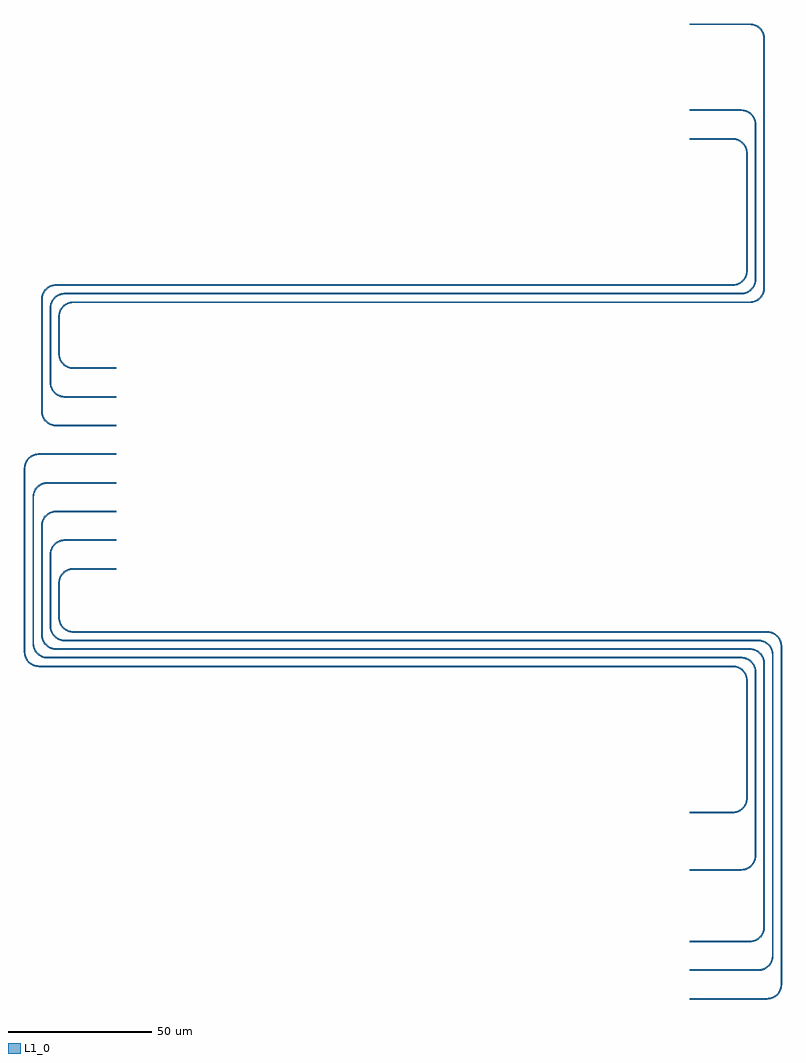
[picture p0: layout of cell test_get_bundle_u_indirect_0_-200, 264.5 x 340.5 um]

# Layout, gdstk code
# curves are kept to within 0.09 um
from math import pi, radians
import gdstk
lib = gdstk.Library(unit=1e-6, precision=1e-09)
def R(c, l, rs):  # rectangles x0, y0, x1, y1
    for r in rs: c.add(gdstk.rectangle(r[:2], r[2:], *l))
def P(c, l, *ps):  # polygons
    for p in ps: c.add(gdstk.Polygon(p, *l))
L1_0 = (1, 0)

bend_circular_964457f5 = lib.new_cell('bend_circular_964457f5')
P(bend_circular_964457f5, L1_0, [(0,-0.25),(1.092,-0.135),(2.135,0.204),(3.086,0.753),(3.712,1.288),(4.247,1.914),(4.796,2.865),(5.135,3.908),(5.25,5),(4.75,5),(4.646,4.012),(4.339,3.068),(3.984,2.413),(3.359,1.641),(2.587,1.016),(1.932,0.661),(0.988,0.354),(0,0.25)])

straight_75db68dd = lib.new_cell('straight_75db68dd')
R(straight_75db68dd, L1_0, [(0,-0.25,15,0.25)])

straight_3fe5b3d9 = lib.new_cell('straight_3fe5b3d9')
R(straight_3fe5b3d9, L1_0, [(0,-0.25,41,0.25)])

straight_c405e72f = lib.new_cell('straight_c405e72f')
R(straight_c405e72f, L1_0, [(0,-0.25,242,0.25)])

straight_e3840525 = lib.new_cell('straight_e3840525')
R(straight_e3840525, L1_0, [(0,-0.25,64,0.25)])

straight_b84123ef = lib.new_cell('straight_b84123ef')
R(straight_b84123ef, L1_0, [(0,-0.25,27,0.25)])

straight_bb729cf3 = lib.new_cell('straight_bb729cf3')
R(straight_bb729cf3, L1_0, [(0,-0.25,18,0.25)])

straight_2c4c719a = lib.new_cell('straight_2c4c719a')
R(straight_2c4c719a, L1_0, [(0,-0.25,51,0.25)])

straight_97db267d = lib.new_cell('straight_97db267d')
R(straight_97db267d, L1_0, [(0,-0.25,24,0.25)])

straight_7f4a1dcc = lib.new_cell('straight_7f4a1dcc')
R(straight_7f4a1dcc, L1_0, [(0,-0.25,21,0.25)])

straight_4d8b7284 = lib.new_cell('straight_4d8b7284')
R(straight_4d8b7284, L1_0, [(0,-0.25,92,0.25)])

straight_eb5dbb42 = lib.new_cell('straight_eb5dbb42')
R(straight_eb5dbb42, L1_0, [(0,-0.25,38,0.25)])

straight_1aebbf42 = lib.new_cell('straight_1aebbf42')
R(straight_1aebbf42, L1_0, [(0,-0.25,105,0.25)])

straight_f3370fae = lib.new_cell('straight_f3370fae')
R(straight_f3370fae, L1_0, [(0,-0.25,25,0.25)])

straight_53ca721e = lib.new_cell('straight_53ca721e')
R(straight_53ca721e, L1_0, [(0,-0.25,118,0.25)])

straight_c05510ec = lib.new_cell('straight_c05510ec')
R(straight_c05510ec, L1_0, [(0,-0.25,12,0.25)])

straight_cd8425bb = lib.new_cell('straight_cd8425bb')
R(straight_cd8425bb, L1_0, [(0,-0.25,236,0.25)])

straight_3c567886 = lib.new_cell('straight_3c567886')
R(straight_3c567886, L1_0, [(0,-0.25,39,0.25)])

straight_17a1eac1 = lib.new_cell('straight_17a1eac1')
R(straight_17a1eac1, L1_0, [(0,-0.25,54,0.25)])

straight_6e1d655f = lib.new_cell('straight_6e1d655f')
R(straight_6e1d655f, L1_0, [(0,-0.25,26,0.25)])

straight_4658989b = lib.new_cell('straight_4658989b')
R(straight_4658989b, L1_0, [(0,-0.25,87,0.25)])

straight_56192873 = lib.new_cell('straight_56192873')
R(straight_56192873, L1_0, [(0,-0.25,13,0.25)])

test_get_bundle_u_indire = lib.new_cell('test_get_bundle_u_indirect_0_-200')
test_get_bundle_u_indire.add(gdstk.Reference(bend_circular_964457f5, (15,-35)))
test_get_bundle_u_indire.add(gdstk.Reference(bend_circular_964457f5, (20,11), rotation=pi/2))
test_get_bundle_u_indire.add(gdstk.Reference(bend_circular_964457f5, (-227,16), rotation=pi, x_reflection=True))
test_get_bundle_u_indire.add(gdstk.Reference(bend_circular_964457f5, (-232,85), rotation=pi/2, x_reflection=True))
test_get_bundle_u_indire.add(gdstk.Reference(straight_75db68dd, (0,-35)))
test_get_bundle_u_indire.add(gdstk.Reference(straight_3fe5b3d9, (20,-30), rotation=pi/2))
test_get_bundle_u_indire.add(gdstk.Reference(straight_c405e72f, (15,16), rotation=pi))
test_get_bundle_u_indire.add(gdstk.Reference(straight_e3840525, (-232,21), rotation=pi/2))
test_get_bundle_u_indire.add(gdstk.Reference(straight_b84123ef, (-227,90)))
test_get_bundle_u_indire.add(gdstk.Reference(bend_circular_964457f5, (18,-55)))
test_get_bundle_u_indire.add(gdstk.Reference(bend_circular_964457f5, (23,14), rotation=pi/2))
test_get_bundle_u_indire.add(gdstk.Reference(bend_circular_964457f5, (-224,19), rotation=pi, x_reflection=True))
test_get_bundle_u_indire.add(gdstk.Reference(bend_circular_964457f5, (-229,75), rotation=pi/2, x_reflection=True))
test_get_bundle_u_indire.add(gdstk.Reference(straight_bb729cf3, (0,-55)))
test_get_bundle_u_indire.add(gdstk.Reference(straight_e3840525, (23,-50), rotation=pi/2))
test_get_bundle_u_indire.add(gdstk.Reference(straight_c405e72f, (18,19), rotation=pi))
test_get_bundle_u_indire.add(gdstk.Reference(straight_2c4c719a, (-229,24), rotation=pi/2))
test_get_bundle_u_indire.add(gdstk.Reference(straight_97db267d, (-224,80)))
test_get_bundle_u_indire.add(gdstk.Reference(bend_circular_964457f5, (21,-80)))
test_get_bundle_u_indire.add(gdstk.Reference(bend_circular_964457f5, (26,17), rotation=pi/2))
test_get_bundle_u_indire.add(gdstk.Reference(bend_circular_964457f5, (-221,22), rotation=pi, x_reflection=True))
test_get_bundle_u_indire.add(gdstk.Reference(bend_circular_964457f5, (-226,65), rotation=pi/2, x_reflection=True))
test_get_bundle_u_indire.add(gdstk.Reference(straight_7f4a1dcc, (0,-80)))
test_get_bundle_u_indire.add(gdstk.Reference(straight_4d8b7284, (26,-75), rotation=pi/2))
test_get_bundle_u_indire.add(gdstk.Reference(straight_c405e72f, (21,22), rotation=pi))
test_get_bundle_u_indire.add(gdstk.Reference(straight_eb5dbb42, (-226,27), rotation=pi/2))
test_get_bundle_u_indire.add(gdstk.Reference(straight_7f4a1dcc, (-221,70)))
test_get_bundle_u_indire.add(gdstk.Reference(bend_circular_964457f5, (24,-90)))
test_get_bundle_u_indire.add(gdstk.Reference(bend_circular_964457f5, (29,20), rotation=pi/2))
test_get_bundle_u_indire.add(gdstk.Reference(bend_circular_964457f5, (-218,25), rotation=pi, x_reflection=True))
test_get_bundle_u_indire.add(gdstk.Reference(bend_circular_964457f5, (-223,55), rotation=pi/2, x_reflection=True))
test_get_bundle_u_indire.add(gdstk.Reference(straight_97db267d, (0,-90)))
test_get_bundle_u_indire.add(gdstk.Reference(straight_1aebbf42, (29,-85), rotation=pi/2))
test_get_bundle_u_indire.add(gdstk.Reference(straight_c405e72f, (24,25), rotation=pi))
test_get_bundle_u_indire.add(gdstk.Reference(straight_f3370fae, (-223,30), rotation=pi/2))
test_get_bundle_u_indire.add(gdstk.Reference(straight_bb729cf3, (-218,60)))
test_get_bundle_u_indire.add(gdstk.Reference(bend_circular_964457f5, (27,-100)))
test_get_bundle_u_indire.add(gdstk.Reference(bend_circular_964457f5, (32,23), rotation=pi/2))
test_get_bundle_u_indire.add(gdstk.Reference(bend_circular_964457f5, (-215,28), rotation=pi, x_reflection=True))
test_get_bundle_u_indire.add(gdstk.Reference(bend_circular_964457f5, (-220,45), rotation=pi/2, x_reflection=True))
test_get_bundle_u_indire.add(gdstk.Reference(straight_b84123ef, (0,-100)))
test_get_bundle_u_indire.add(gdstk.Reference(straight_53ca721e, (32,-95), rotation=pi/2))
test_get_bundle_u_indire.add(gdstk.Reference(straight_c405e72f, (27,28), rotation=pi))
test_get_bundle_u_indire.add(gdstk.Reference(straight_c05510ec, (-220,33), rotation=pi/2))
test_get_bundle_u_indire.add(gdstk.Reference(straight_75db68dd, (-215,50)))
test_get_bundle_u_indire.add(gdstk.Reference(bend_circular_964457f5, (15,200), x_reflection=True))
test_get_bundle_u_indire.add(gdstk.Reference(bend_circular_964457f5, (20,154), rotation=3*pi/2, x_reflection=True))
test_get_bundle_u_indire.add(gdstk.Reference(bend_circular_964457f5, (-221,149), rotation=pi))
test_get_bundle_u_indire.add(gdstk.Reference(bend_circular_964457f5, (-226,105), rotation=3*pi/2))
test_get_bundle_u_indire.add(gdstk.Reference(straight_75db68dd, (0,200)))
test_get_bundle_u_indire.add(gdstk.Reference(straight_3fe5b3d9, (20,195), rotation=3*pi/2))
test_get_bundle_u_indire.add(gdstk.Reference(straight_cd8425bb, (15,149), rotation=pi))
test_get_bundle_u_indire.add(gdstk.Reference(straight_3c567886, (-226,144), rotation=3*pi/2))
test_get_bundle_u_indire.add(gdstk.Reference(straight_7f4a1dcc, (-221,100)))
test_get_bundle_u_indire.add(gdstk.Reference(bend_circular_964457f5, (18,210), x_reflection=True))
test_get_bundle_u_indire.add(gdstk.Reference(bend_circular_964457f5, (23,151), rotation=3*pi/2, x_reflection=True))
test_get_bundle_u_indire.add(gdstk.Reference(bend_circular_964457f5, (-218,146), rotation=pi))
test_get_bundle_u_indire.add(gdstk.Reference(bend_circular_964457f5, (-223,115), rotation=3*pi/2))
test_get_bundle_u_indire.add(gdstk.Reference(straight_bb729cf3, (0,210)))
test_get_bundle_u_indire.add(gdstk.Reference(straight_17a1eac1, (23,205), rotation=3*pi/2))
test_get_bundle_u_indire.add(gdstk.Reference(straight_cd8425bb, (18,146), rotation=pi))
test_get_bundle_u_indire.add(gdstk.Reference(straight_6e1d655f, (-223,141), rotation=3*pi/2))
test_get_bundle_u_indire.add(gdstk.Reference(straight_bb729cf3, (-218,110)))
test_get_bundle_u_indire.add(gdstk.Reference(bend_circular_964457f5, (21,240), x_reflection=True))
test_get_bundle_u_indire.add(gdstk.Reference(bend_circular_964457f5, (26,148), rotation=3*pi/2, x_reflection=True))
test_get_bundle_u_indire.add(gdstk.Reference(bend_circular_964457f5, (-215,143), rotation=pi))
test_get_bundle_u_indire.add(gdstk.Reference(bend_circular_964457f5, (-220,125), rotation=3*pi/2))
test_get_bundle_u_indire.add(gdstk.Reference(straight_7f4a1dcc, (0,240)))
test_get_bundle_u_indire.add(gdstk.Reference(straight_4658989b, (26,235), rotation=3*pi/2))
test_get_bundle_u_indire.add(gdstk.Reference(straight_cd8425bb, (21,143), rotation=pi))
test_get_bundle_u_indire.add(gdstk.Reference(straight_56192873, (-220,138), rotation=3*pi/2))
test_get_bundle_u_indire.add(gdstk.Reference(straight_75db68dd, (-215,120)))

lib.write_gds('test_get_bundle_u_indirect_0_-200.gds')
